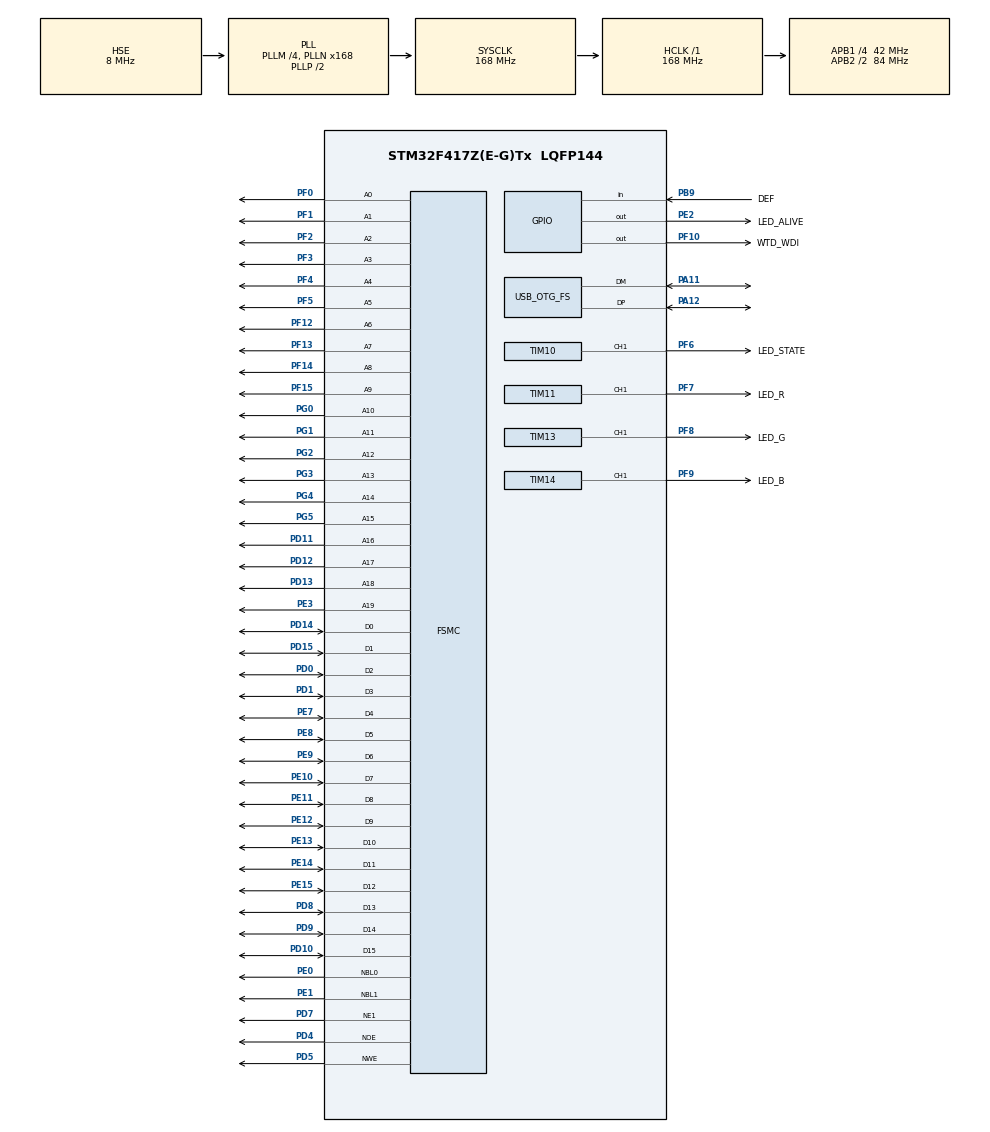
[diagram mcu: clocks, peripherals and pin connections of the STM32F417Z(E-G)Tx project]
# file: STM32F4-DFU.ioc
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FSMC.AddressSetupTime1=1
FSMC.BusTurnAroundDuration1=0
FSMC.DataSetupTime1=2
FSMC.ExtendedAddressSetupTime1=1
FSMC.ExtendedBusTurnAroundDuration1=0
FSMC.ExtendedDataSetupTime1=2
FSMC.ExtendedMode1=FSMC_EXTENDED_MODE_ENABLE
FSMC.WriteOperation1=FSMC_WRITE_OPERATION_ENABLE
IWDG.Prescaler=IWDG_PRESCALER_64
Mcu.Family=STM32F4
Mcu.Name=STM32F417Z(E-G)Tx
Mcu.Package=LQFP144
NVIC.OTG_FS_IRQn=true\:7\:0\:true\:false\:true\:false\:true\:true
NVIC.PriorityGroup=NVIC_PRIORITYGROUP_4
NVIC.TIM1_UP_TIM10_IRQn=true\:15\:0\:false\:false\:true\:false\:true\:true
NVIC.TimeBase=TIM1_UP_TIM10_IRQn
NVIC.TimeBaseIP=TIM1
PA11.Mode=Device_Only
PA11.Signal=USB_OTG_FS_DM
PA12.Mode=Device_Only
PA12.Signal=USB_OTG_FS_DP
PA13.Mode=Serial_Wire
PA13.Signal=SYS_JTMS-SWDIO
PA14.Mode=Serial_Wire
PA14.Signal=SYS_JTCK-SWCLK
PB9.GPIO_Label=DEF
PB9.GPIO_Mode=GPIO_MODE_INPUT
PB9.GPIO_PuPd=GPIO_PULLUP
PB9.Signal=GPIO_Input
PD0.Signal=FSMC_D2_DA2
PD1.Signal=FSMC_D3_DA3
PD10.Signal=FSMC_D15_DA15
PD11.Signal=FSMC_A16_CLE
PD12.Signal=FSMC_A17_ALE
PD13.Signal=FSMC_A18
PD14.Signal=FSMC_D0_DA0
PD15.Signal=FSMC_D1_DA1
PD4.Signal=FSMC_NOE
PD5.Signal=FSMC_NWE
PD7.Mode=NorPsramChipSelect1_1
PD7.Signal=FSMC_NE1
PD8.Signal=FSMC_D13_DA13
PD9.Signal=FSMC_D14_DA14
PE0.Signal=FSMC_NBL0
PE1.Signal=FSMC_NBL1
PE10.Signal=FSMC_D7_DA7
PE11.Signal=FSMC_D8_DA8
PE12.Signal=FSMC_D9_DA9
PE13.Signal=FSMC_D10_DA10
PE14.Signal=FSMC_D11_DA11
PE15.Signal=FSMC_D12_DA12
PE2.GPIO_Label=LED_ALIVE
PE2.GPIO_ModeDefaultOutputPP=GPIO_MODE_OUTPUT_OD
PE2.GPIO_PuPd=GPIO_NOPULL
PE2.PinState=GPIO_PIN_SET
PE2.Signal=GPIO_Output
PE3.Signal=FSMC_A19
PE7.Signal=FSMC_D4_DA4
PE8.Signal=FSMC_D5_DA5
PE9.Signal=FSMC_D6_DA6
PF0.Signal=FSMC_A0
PF1.Signal=FSMC_A1
PF10.GPIO_Label=WTD_WDI
PF10.GPIO_PuPd=GPIO_PULLUP
PF10.PinState=GPIO_PIN_SET
PF10.Signal=GPIO_Output
PF12.Signal=FSMC_A6
PF13.Signal=FSMC_A7
PF14.Signal=FSMC_A8
PF15.Signal=FSMC_A9
PF2.Signal=FSMC_A2
PF3.Signal=FSMC_A3
PF4.Signal=FSMC_A4
PF5.Signal=FSMC_A5
PF6.GPIO_Label=LED_STATE
PF6.Signal=S_TIM10_CH1
PF7.GPIO_Label=LED_R
PF7.Signal=S_TIM11_CH1
PF8.GPIO_Label=LED_G
PF8.Signal=S_TIM13_CH1
PF9.GPIO_Label=LED_B
PF9.Signal=S_TIM14_CH1
PG0.Signal=FSMC_A10
PG1.Signal=FSMC_A11
PG2.Signal=FSMC_A12
PG3.Signal=FSMC_A13
PG4.Signal=FSMC_A14
PG5.Signal=FSMC_A15
PH0-OSC_IN.Mode=HSE-External-Oscillator
PH0-OSC_IN.Signal=RCC_OSC_IN
PH1-OSC_OUT.Mode=HSE-External-Oscillator
PH1-OSC_OUT.Signal=RCC_OSC_OUT
ProjectManager.HeapSize=0x200
ProjectManager.StackSize=0x400
ProjectManager.TargetToolchain=STM32CubeIDE
RCC.48MHZClocksFreq_Value=48000000
RCC.AHBFreq_Value=168000000
RCC.APB1CLKDivider=RCC_HCLK_DIV4
RCC.APB1Freq_Value=42000000
RCC.APB1TimFreq_Value=84000000
RCC.APB2CLKDivider=RCC_HCLK_DIV2
RCC.APB2Freq_Value=84000000
RCC.APB2TimFreq_Value=168000000
RCC.CortexFreq_Value=168000000
RCC.HCLKFreq_Value=168000000
RCC.HSE_VALUE=8000000
RCC.HSI_VALUE=16000000
RCC.PLLM=4
RCC.PLLN=168
RCC.PLLQ=7
RCC.RCC_RTC_Clock_Source=RCC_RTCCLKSOURCE_LSE
RCC.RCC_RTC_Clock_SourceVirtual=RCC_RTCCLKSOURCE_LSE
RCC.SYSCLKFreq_VALUE=168000000
RCC.SYSCLKSource=RCC_SYSCLKSOURCE_PLLCLK
RCC.VCOOutputFreq_Value=336000000
SH.FSMC_A0.0=FSMC_A0,20b-a1
SH.FSMC_A1.0=FSMC_A1,20b-a1
SH.FSMC_A10.0=FSMC_A10,20b-a1
SH.FSMC_A11.0=FSMC_A11,20b-a1
SH.FSMC_A12.0=FSMC_A12,20b-a1
SH.FSMC_A13.0=FSMC_A13,20b-a1
SH.FSMC_A14.0=FSMC_A14,20b-a1
SH.FSMC_A15.0=FSMC_A15,20b-a1
SH.FSMC_A16_CLE.0=FSMC_A16,20b-a1
SH.FSMC_A17_ALE.0=FSMC_A17,20b-a1
SH.FSMC_A18.0=FSMC_A18,20b-a1
SH.FSMC_A19.0=FSMC_A19,20b-a1
SH.FSMC_A2.0=FSMC_A2,20b-a1
SH.FSMC_A3.0=FSMC_A3,20b-a1
SH.FSMC_A4.0=FSMC_A4,20b-a1
SH.FSMC_A5.0=FSMC_A5,20b-a1
SH.FSMC_A6.0=FSMC_A6,20b-a1
SH.FSMC_A7.0=FSMC_A7,20b-a1
SH.FSMC_A8.0=FSMC_A8,20b-a1
SH.FSMC_A9.0=FSMC_A9,20b-a1
SH.FSMC_D0_DA0.0=FSMC_D0,16b-d1
SH.FSMC_D10_DA10.0=FSMC_D10,16b-d1
SH.FSMC_D11_DA11.0=FSMC_D11,16b-d1
SH.FSMC_D12_DA12.0=FSMC_D12,16b-d1
SH.FSMC_D13_DA13.0=FSMC_D13,16b-d1
SH.FSMC_D14_DA14.0=FSMC_D14,16b-d1
SH.FSMC_D15_DA15.0=FSMC_D15,16b-d1
SH.FSMC_D1_DA1.0=FSMC_D1,16b-d1
SH.FSMC_D2_DA2.0=FSMC_D2,16b-d1
SH.FSMC_D3_DA3.0=FSMC_D3,16b-d1
SH.FSMC_D4_DA4.0=FSMC_D4,16b-d1
SH.FSMC_D5_DA5.0=FSMC_D5,16b-d1
SH.FSMC_D6_DA6.0=FSMC_D6,16b-d1
SH.FSMC_D7_DA7.0=FSMC_D7,16b-d1
SH.FSMC_D8_DA8.0=FSMC_D8,16b-d1
SH.FSMC_D9_DA9.0=FSMC_D9,16b-d1
SH.FSMC_NBL0.0=FSMC_NBL0,2ByteEnable1
SH.FSMC_NBL1.0=FSMC_NBL1,2ByteEnable1
SH.FSMC_NOE.0=FSMC_NOE,Sram1
SH.FSMC_NWE.0=FSMC_NWE,Sram1
SH.S_TIM10_CH1.0=TIM10_CH1,PWM Generation1 CH1
SH.S_TIM11_CH1.0=TIM11_CH1,PWM Generation1 CH1
SH.S_TIM13_CH1.0=TIM13_CH1,PWM Generation1 CH1
SH.S_TIM14_CH1.0=TIM14_CH1,PWM Generation1 CH1
TIM10.Channel=TIM_CHANNEL_1
TIM11.Channel=TIM_CHANNEL_1
TIM13.Channel=TIM_CHANNEL_1
TIM14.Channel=TIM_CHANNEL_1
USB_DEVICE.CLASS_NAME_FS=DFU
USB_DEVICE.VirtualMode-DFU_FS=Dfu
USB_DEVICE.VirtualModeFS=Dfu_FS
USB_OTG_FS.VirtualMode=Device_Only
VP_CRC_VS_CRC.Mode=CRC_Activate
VP_IWDG_VS_IWDG.Mode=IWDG_Activate
VP_SYS_VS_tim1.Mode=TIM1
VP_TIM10_VS_ClockSourceINT.Mode=Enable_Timer
VP_TIM11_VS_ClockSourceINT.Mode=Enable_Timer
VP_TIM13_VS_ClockSourceINT.Mode=Enable_Timer
VP_TIM14_VS_ClockSourceINT.Mode=Enable_Timer
VP_USB_DEVICE_VS_USB_DEVICE_DFU_FS.Mode=DFU_FS
board=custom

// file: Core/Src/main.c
/* USER CODE BEGIN Header */
/**
  ******************************************************************************
  * @file           : main.c
  * @brief          : Main program body
  ******************************************************************************
  * @attention
  *
  * Copyright (c) 2026 STMicroelectronics.
  * All rights reserved.
  *
  * This software is licensed under terms that can be found in the LICENSE file
  * in the root directory of this software component.
  * If no LICENSE file comes with this software, it is provided AS-IS.
  *
  ******************************************************************************
  */
/* USER CODE END Header */
#include "main.h"
#include "usb_device.h"

/* USER CODE BEGIN Includes */
#include "pwm.h"
/* USER CODE END Includes */

/* USER CODE BEGIN PM */
// Macro to create a non-blocking time slot loop
#define RUN_EVERY_MS(ms_interval, last_tick_var) \
    for (uint32_t now = HAL_GetTick(); (now - last_tick_var) >= (ms_interval); last_tick_var = now)

/* USER CODE END PM */

CRC_HandleTypeDef hcrc;

IWDG_HandleTypeDef hiwdg;

TIM_HandleTypeDef htim10;
TIM_HandleTypeDef htim11;
TIM_HandleTypeDef htim13;
TIM_HandleTypeDef htim14;

SRAM_HandleTypeDef hsram1;

void SystemClock_Config(void);
static void MX_GPIO_Init(void);
static void MX_CRC_Init(void);
static void MX_FSMC_Init(void);
static void MX_TIM10_Init(void);
static void MX_TIM11_Init(void);
static void MX_TIM13_Init(void);
static void MX_TIM14_Init(void);
static void MX_IWDG_Init(void);

int main(void)
{

  /* MCU Configuration--------------------------------------------------------*/

  /* Reset of all peripherals, Initializes the Flash interface and the Systick. */
  HAL_Init();

  /* Configure the system clock */
  SystemClock_Config();

  /* Initialize all configured peripherals */
  MX_GPIO_Init();
  MX_CRC_Init();
  MX_FSMC_Init();
  MX_USB_DEVICE_Init();
  MX_TIM10_Init();
  MX_TIM11_Init();
  MX_TIM13_Init();
  MX_TIM14_Init();
#ifndef DEBUG
  MX_IWDG_Init();
#endif
  /* USER CODE BEGIN 2 */
  HAL_PWM_WriteRGB(RGB_COLOR_START);
  HAL_PWM_WritePin(LED_STATE_Pin, GPIO_PIN_RESET);
  uint32_t last_tick = HAL_GetTick(); // Store the initial timestamp
  uint8_t led_state = 0; // Variable to track the LED state
  /* USER CODE END 2 */

  /* Infinite loop */
  while (1)
  {

	  RUN_EVERY_MS(500, last_tick)
	  {
		  HAL_PWM_WritePin(LED_STATE_Pin, led_state? GPIO_PIN_RESET : GPIO_PIN_SET);
		  led_state = !led_state; // Toggle the LED state

#ifndef DEBUG
		//internal watchdog
		HAL_IWDG_Refresh(&hiwdg);
#endif
	  }
  }
}

void SystemClock_Config(void)
{
  RCC_OscInitTypeDef RCC_OscInitStruct = {0};
  RCC_ClkInitTypeDef RCC_ClkInitStruct = {0};

  /** Configure the main internal regulator output voltage
  */
  __HAL_RCC_PWR_CLK_ENABLE();
  __HAL_PWR_VOLTAGESCALING_CONFIG(PWR_REGULATOR_VOLTAGE_SCALE1);

  /** Initializes the RCC Oscillators according to the specified parameters
  * in the RCC_OscInitTypeDef structure.
  */
  RCC_OscInitStruct.OscillatorType = RCC_OSCILLATORTYPE_LSI|RCC_OSCILLATORTYPE_HSE;
  RCC_OscInitStruct.HSEState = RCC_HSE_ON;
  RCC_OscInitStruct.LSIState = RCC_LSI_ON;
  RCC_OscInitStruct.PLL.PLLState = RCC_PLL_ON;
  RCC_OscInitStruct.PLL.PLLSource = RCC_PLLSOURCE_HSE;
  RCC_OscInitStruct.PLL.PLLM = 4;
  RCC_OscInitStruct.PLL.PLLN = 168;
  RCC_OscInitStruct.PLL.PLLP = RCC_PLLP_DIV2;
  RCC_OscInitStruct.PLL.PLLQ = 7;
  if (HAL_RCC_OscConfig(&RCC_OscInitStruct) != HAL_OK)
  {
    Error_Handler();
  }

  /** Initializes the CPU, AHB and APB buses clocks
  */
  RCC_ClkInitStruct.ClockType = RCC_CLOCKTYPE_HCLK|RCC_CLOCKTYPE_SYSCLK
                              |RCC_CLOCKTYPE_PCLK1|RCC_CLOCKTYPE_PCLK2;
  RCC_ClkInitStruct.SYSCLKSource = RCC_SYSCLKSOURCE_PLLCLK;
  RCC_ClkInitStruct.AHBCLKDivider = RCC_SYSCLK_DIV1;
  RCC_ClkInitStruct.APB1CLKDivider = RCC_HCLK_DIV4;
  RCC_ClkInitStruct.APB2CLKDivider = RCC_HCLK_DIV2;

  if (HAL_RCC_ClockConfig(&RCC_ClkInitStruct, FLASH_LATENCY_5) != HAL_OK)
  {
    Error_Handler();
  }
}

static void MX_CRC_Init(void)
{

  hcrc.Instance = CRC;
  if (HAL_CRC_Init(&hcrc) != HAL_OK)
  {
    Error_Handler();
  }

}

static void MX_IWDG_Init(void)
{

  hiwdg.Instance = IWDG;
  hiwdg.Init.Prescaler = IWDG_PRESCALER_64;
  hiwdg.Init.Reload = 4095;
  if (HAL_IWDG_Init(&hiwdg) != HAL_OK)
  {
    Error_Handler();
  }

}

static void MX_TIM10_Init(void)
{

  TIM_OC_InitTypeDef sConfigOC = {0};

  htim10.Instance = TIM10;
  htim10.Init.Prescaler = 167;
  htim10.Init.CounterMode = TIM_COUNTERMODE_UP;
  htim10.Init.Period = 255;
  htim10.Init.ClockDivision = TIM_CLOCKDIVISION_DIV1;
  htim10.Init.AutoReloadPreload = TIM_AUTORELOAD_PRELOAD_ENABLE;
  if (HAL_TIM_Base_Init(&htim10) != HAL_OK)
  {
    Error_Handler();
  }
  if (HAL_TIM_PWM_Init(&htim10) != HAL_OK)
  {
    Error_Handler();
  }
  sConfigOC.OCMode = TIM_OCMODE_PWM1;
  sConfigOC.Pulse = 0;
  sConfigOC.OCPolarity = TIM_OCPOLARITY_LOW;
  sConfigOC.OCFastMode = TIM_OCFAST_DISABLE;
  if (HAL_TIM_PWM_ConfigChannel(&htim10, &sConfigOC, TIM_CHANNEL_1) != HAL_OK)
  {
    Error_Handler();
  }
  /* USER CODE BEGIN TIM10_Init 2 */
  HAL_TIM_Base_Start(&htim10);
  HAL_TIM_PWM_Start(&htim10,TIM_CHANNEL_1);
  /* USER CODE END TIM10_Init 2 */
  HAL_TIM_MspPostInit(&htim10);

}

static void MX_TIM11_Init(void)
{

  TIM_OC_InitTypeDef sConfigOC = {0};

  htim11.Instance = TIM11;
  htim11.Init.Prescaler = 167;
  htim11.Init.CounterMode = TIM_COUNTERMODE_UP;
  htim11.Init.Period = 255;
  htim11.Init.ClockDivision = TIM_CLOCKDIVISION_DIV1;
  htim11.Init.AutoReloadPreload = TIM_AUTORELOAD_PRELOAD_ENABLE;
  if (HAL_TIM_Base_Init(&htim11) != HAL_OK)
  {
    Error_Handler();
  }
  if (HAL_TIM_PWM_Init(&htim11) != HAL_OK)
  {
    Error_Handler();
  }
  sConfigOC.OCMode = TIM_OCMODE_PWM1;
  sConfigOC.Pulse = 0;
  sConfigOC.OCPolarity = TIM_OCPOLARITY_LOW;
  sConfigOC.OCFastMode = TIM_OCFAST_DISABLE;
  if (HAL_TIM_PWM_ConfigChannel(&htim11, &sConfigOC, TIM_CHANNEL_1) != HAL_OK)
  {
    Error_Handler();
  }
  /* USER CODE BEGIN TIM11_Init 2 */
  HAL_TIM_Base_Start(&htim11);
  HAL_TIM_PWM_Start(&htim11,TIM_CHANNEL_1);
  /* USER CODE END TIM11_Init 2 */
  HAL_TIM_MspPostInit(&htim11);

}

static void MX_TIM13_Init(void)
{

  TIM_OC_InitTypeDef sConfigOC = {0};

  htim13.Instance = TIM13;
  htim13.Init.Prescaler = 167;
  htim13.Init.CounterMode = TIM_COUNTERMODE_UP;
  htim13.Init.Period = 255;
  htim13.Init.ClockDivision = TIM_CLOCKDIVISION_DIV1;
  htim13.Init.AutoReloadPreload = TIM_AUTORELOAD_PRELOAD_ENABLE;
  if (HAL_TIM_Base_Init(&htim13) != HAL_OK)
  {
    Error_Handler();
  }
  if (HAL_TIM_PWM_Init(&htim13) != HAL_OK)
  {
    Error_Handler();
  }
  sConfigOC.OCMode = TIM_OCMODE_PWM1;
  sConfigOC.Pulse = 0;
  sConfigOC.OCPolarity = TIM_OCPOLARITY_LOW;
  sConfigOC.OCFastMode = TIM_OCFAST_DISABLE;
  if (HAL_TIM_PWM_ConfigChannel(&htim13, &sConfigOC, TIM_CHANNEL_1) != HAL_OK)
  {
    Error_Handler();
  }
  /* USER CODE BEGIN TIM13_Init 2 */
  HAL_TIM_Base_Start(&htim13);
  HAL_TIM_PWM_Start(&htim13,TIM_CHANNEL_1);
  /* USER CODE END TIM13_Init 2 */
  HAL_TIM_MspPostInit(&htim13);

}

static void MX_TIM14_Init(void)
{

  TIM_OC_InitTypeDef sConfigOC = {0};

  htim14.Instance = TIM14;
  htim14.Init.Prescaler = 167;
  htim14.Init.CounterMode = TIM_COUNTERMODE_UP;
  htim14.Init.Period = 255;
  htim14.Init.ClockDivision = TIM_CLOCKDIVISION_DIV1;
  htim14.Init.AutoReloadPreload = TIM_AUTORELOAD_PRELOAD_ENABLE;
  if (HAL_TIM_Base_Init(&htim14) != HAL_OK)
  {
    Error_Handler();
  }
  if (HAL_TIM_PWM_Init(&htim14) != HAL_OK)
  {
    Error_Handler();
  }
  sConfigOC.OCMode = TIM_OCMODE_PWM1;
  sConfigOC.Pulse = 0;
  sConfigOC.OCPolarity = TIM_OCPOLARITY_LOW;
  sConfigOC.OCFastMode = TIM_OCFAST_DISABLE;
  if (HAL_TIM_PWM_ConfigChannel(&htim14, &sConfigOC, TIM_CHANNEL_1) != HAL_OK)
  {
    Error_Handler();
  }
  /* USER CODE BEGIN TIM14_Init 2 */
  HAL_TIM_Base_Start(&htim11);
  HAL_TIM_PWM_Start(&htim11,TIM_CHANNEL_1);
  /* USER CODE END TIM14_Init 2 */
  HAL_TIM_MspPostInit(&htim14);

}

static void MX_GPIO_Init(void)
{
  GPIO_InitTypeDef GPIO_InitStruct = {0};

  /* GPIO Ports Clock Enable */
  __HAL_RCC_GPIOE_CLK_ENABLE();
  __HAL_RCC_GPIOF_CLK_ENABLE();
  __HAL_RCC_GPIOH_CLK_ENABLE();
  __HAL_RCC_GPIOG_CLK_ENABLE();
  __HAL_RCC_GPIOD_CLK_ENABLE();
  __HAL_RCC_GPIOA_CLK_ENABLE();
  __HAL_RCC_GPIOB_CLK_ENABLE();

  /*Configure GPIO pin Output Level */
  HAL_GPIO_WritePin(LED_ALIVE_GPIO_Port, LED_ALIVE_Pin, GPIO_PIN_SET);

  /*Configure GPIO pin Output Level */
  HAL_GPIO_WritePin(WTD_WDI_GPIO_Port, WTD_WDI_Pin, GPIO_PIN_SET);

  /*Configure GPIO pin : LED_ALIVE_Pin */
  GPIO_InitStruct.Pin = LED_ALIVE_Pin;
  GPIO_InitStruct.Mode = GPIO_MODE_OUTPUT_OD;
  GPIO_InitStruct.Pull = GPIO_NOPULL;
  GPIO_InitStruct.Speed = GPIO_SPEED_FREQ_LOW;
  HAL_GPIO_Init(LED_ALIVE_GPIO_Port, &GPIO_InitStruct);

  /*Configure GPIO pin : WTD_WDI_Pin */
  GPIO_InitStruct.Pin = WTD_WDI_Pin;
  GPIO_InitStruct.Mode = GPIO_MODE_OUTPUT_PP;
  GPIO_InitStruct.Pull = GPIO_PULLUP;
  GPIO_InitStruct.Speed = GPIO_SPEED_FREQ_LOW;
  HAL_GPIO_Init(WTD_WDI_GPIO_Port, &GPIO_InitStruct);

  /*Configure GPIO pin : DEF_Pin */
  GPIO_InitStruct.Pin = DEF_Pin;
  GPIO_InitStruct.Mode = GPIO_MODE_INPUT;
  GPIO_InitStruct.Pull = GPIO_PULLUP;
  HAL_GPIO_Init(DEF_GPIO_Port, &GPIO_InitStruct);

}

/* FSMC initialization function */
static void MX_FSMC_Init(void)
{

  FSMC_NORSRAM_TimingTypeDef Timing = {0};
  FSMC_NORSRAM_TimingTypeDef ExtTiming = {0};

  /** Perform the SRAM1 memory initialization sequence
  */
  hsram1.Instance = FSMC_NORSRAM_DEVICE;
	hsram1.Extended = FSMC_NORSRAM_EXTENDED_DEVICE;
	/* hsram1.Init */
	hsram1.Init.NSBank = FSMC_NORSRAM_BANK1;
	hsram1.Init.DataAddressMux = FSMC_DATA_ADDRESS_MUX_DISABLE;
	hsram1.Init.MemoryType = FSMC_MEMORY_TYPE_SRAM;
	hsram1.Init.MemoryDataWidth = FSMC_NORSRAM_MEM_BUS_WIDTH_16;
	hsram1.Init.BurstAccessMode = FSMC_BURST_ACCESS_MODE_DISABLE;
	hsram1.Init.WaitSignalPolarity = FSMC_WAIT_SIGNAL_POLARITY_LOW;
	hsram1.Init.WrapMode = FSMC_WRAP_MODE_DISABLE;
	hsram1.Init.WaitSignalActive = FSMC_WAIT_TIMING_BEFORE_WS;
	hsram1.Init.WriteOperation = FSMC_WRITE_OPERATION_ENABLE;
	hsram1.Init.WaitSignal = FSMC_WAIT_SIGNAL_DISABLE;
	hsram1.Init.ExtendedMode = FSMC_EXTENDED_MODE_ENABLE;
	hsram1.Init.AsynchronousWait = FSMC_ASYNCHRONOUS_WAIT_DISABLE;
	hsram1.Init.WriteBurst = FSMC_WRITE_BURST_DISABLE;
	hsram1.Init.PageSize = FSMC_PAGE_SIZE_NONE;
	/* Timing */
	Timing.AddressSetupTime = 5; //1
	Timing.AddressHoldTime = 15;
	Timing.DataSetupTime = 6; //2
	Timing.BusTurnAroundDuration = 0;
	Timing.CLKDivision = 16;
	Timing.DataLatency = 17;
	Timing.AccessMode = FSMC_ACCESS_MODE_A;
	/* ExtTiming */
	ExtTiming.AddressSetupTime = 5;
	ExtTiming.AddressHoldTime = 15;
	ExtTiming.DataSetupTime = 6;
	ExtTiming.BusTurnAroundDuration = 0;
	ExtTiming.CLKDivision = 16;
	ExtTiming.DataLatency = 17;
	ExtTiming.AccessMode = FSMC_ACCESS_MODE_A;

  if (HAL_SRAM_Init(&hsram1, &Timing, &ExtTiming) != HAL_OK)
  {
    Error_Handler( );
  }

}

void HAL_TIM_PeriodElapsedCallback(TIM_HandleTypeDef *htim)
{
  if (htim->Instance == TIM1)
  {
    HAL_IncTick();
  }
}

void Error_Handler(void)
{
  __disable_irq();
  while (1)
  {
  }
}
